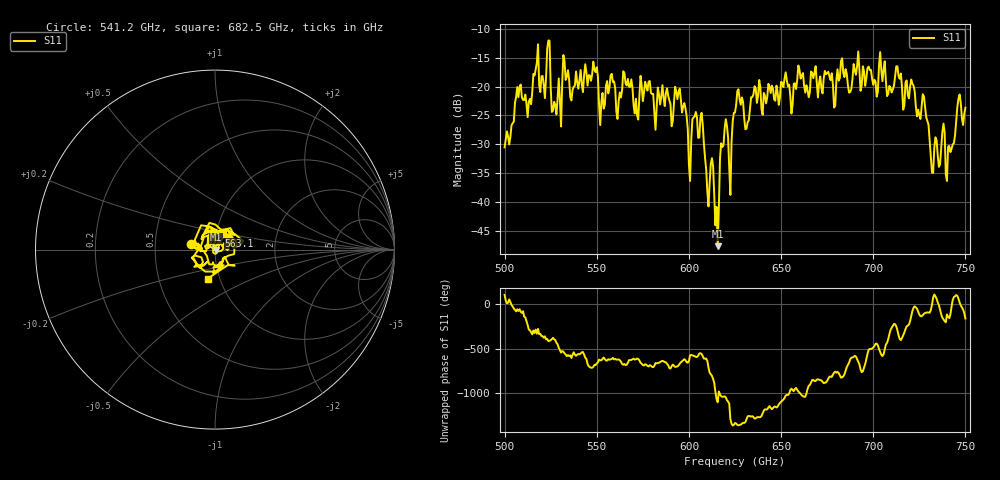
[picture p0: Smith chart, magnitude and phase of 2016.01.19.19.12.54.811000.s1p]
!Created with skrf (http://scikit-rf.org).
# GHz S RI R 50.0
!freq ReS11 ImS11
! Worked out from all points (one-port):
!   401 points, 500 GHz to 750 GHz, reference 50 ohm
!   lowest |S11| = -47.6 dB at 615.6 GHz (marker M1), VSWR 1.01, Z = 50.4 - j0.129 ohm
!   |S11| at or under -10 dB: start of sweep to end of sweep
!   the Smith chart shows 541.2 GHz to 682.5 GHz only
!   S11 on the Smith chart (normalised r, x): 541.2 GHz: 0.76, +0.05; 563.1 GHz: 1.03, +0.16; 682.5 GHz: 0.88, -0.29
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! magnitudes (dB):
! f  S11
! 500 GHz  -30.5
! 507.5 GHz  -21.8
! 513.8 GHz  -22.1
! 516.9 GHz  -17.0
! 520.6 GHz  -18.2
! 523.8 GHz  -12.0
! 526.9 GHz  -22.6
! 531.2 GHz  -19.4
! 541.2 GHz  -17.1
! 562.5 GHz  -21.0
! 563.1 GHz  -21.9
! 593.8 GHz  -22.2
! 600 GHz  -33.5
! 606.9 GHz  -24.5
! 610 GHz  -38.3
! 615.6 GHz  -47.6
! 618.8 GHz  -30.2
! 622.5 GHz  -38.8
! 625 GHz  -24.5
! 656.2 GHz  -23.2
! 682.5 GHz  -15.6
! 687.5 GHz  -20.9
! 718.8 GHz  -21.5
! 728.1 GHz  -23.6
! 731.9 GHz  -34.9
! 740.6 GHz  -30.4
! 746.2 GHz  -22.1
! 750 GHz  -23.7
